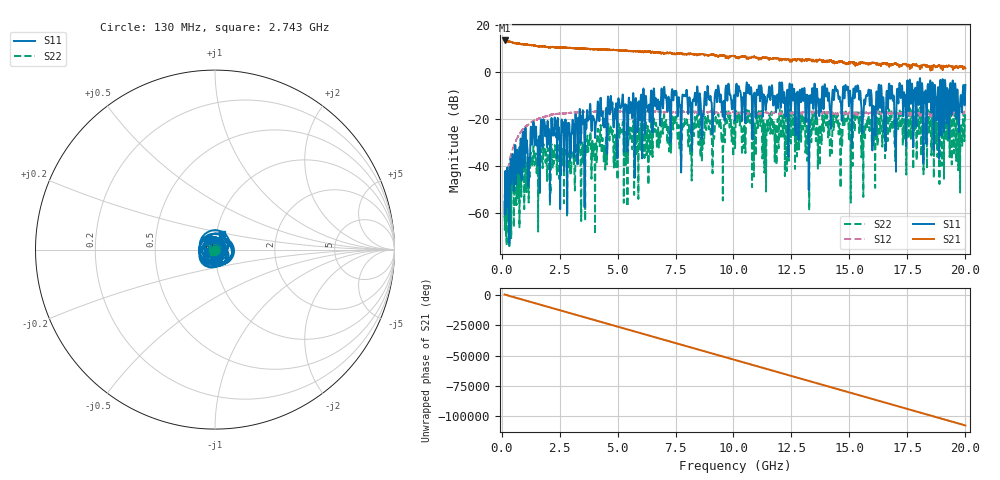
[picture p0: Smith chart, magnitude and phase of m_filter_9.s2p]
!Created with skrf (http://scikit-rf.org).
# GHz S RI R 50.0
!freq ReS11 ImS11 ReS21 ImS21 ReS12 ImS12 ReS22 ImS22
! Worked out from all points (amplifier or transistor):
!   20013 points, 130 MHz to 20 GHz, reference 50 ohm
!   highest |S21| = 13.4 dB at 130 MHz (marker M1)
!   |S21| within 3 dB of that: start of sweep to 2.395 GHz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
!   unconditionally stable (mu >= 1): start of sweep to end of sweep
!   at 3.465 GHz: K = 1.33, MAG = 10.1 dB, |S12| = -17.0 dB
!   at 10.14 GHz: K = 1.45, MAG = 7.9 dB, |S12| = -17.6 dB
!   at 20 GHz: K = 2.35, MAG = 3.0 dB, |S12| = -17.5 dB
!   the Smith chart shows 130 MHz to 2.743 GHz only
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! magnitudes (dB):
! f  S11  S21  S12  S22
! 130 MHz  -55.0  13.4  -53.5  -60.6
! 958 MHz  -29.0  11.8  -23.9  -39.2
! 3.442 GHz  -23.6  9.9  -17.0  -44.5
! 4.465 GHz  -21.5  9.6  -16.7  -39.3
! 4.676 GHz  -15.8  9.5  -16.6  -24.9
! 4.914 GHz  -18.0  9.4  -16.5  -35.0
! 5.136 GHz  -15.1  9.2  -16.6  -25.6
! 5.361 GHz  -15.9  9.1  -16.6  -39.5
! 6.754 GHz  -11.9  8.3  -16.7  -24.0
! 10.06 GHz  -19.6  6.8  -16.9  -32.3
! 13.38 GHz  -9.0  4.8  -17.3  -20.5
! 14.84 GHz  -6.0  3.7  -17.5  -16.9
! 15.06 GHz  -11.2  4.2  -17.0  -45.8
! 15.32 GHz  -7.4  3.2  -18.0  -20.2
! 16.05 GHz  -17.5  3.9  -16.8  -30.8
! 16.32 GHz  -14.9  3.5  -16.9  -25.9
! 16.49 GHz  -20.4  3.8  -16.8  -25.0
! 16.69 GHz  -6.6  3.0  -17.7  -17.4
! 16.94 GHz  -21.8  3.6  -17.2  -30.2
! 17.19 GHz  -6.7  3.0  -17.5  -21.2
! 19.77 GHz  -13.2  2.4  -16.8  -41.4
! 20 GHz  -5.5  1.6  -17.5  -16.8
